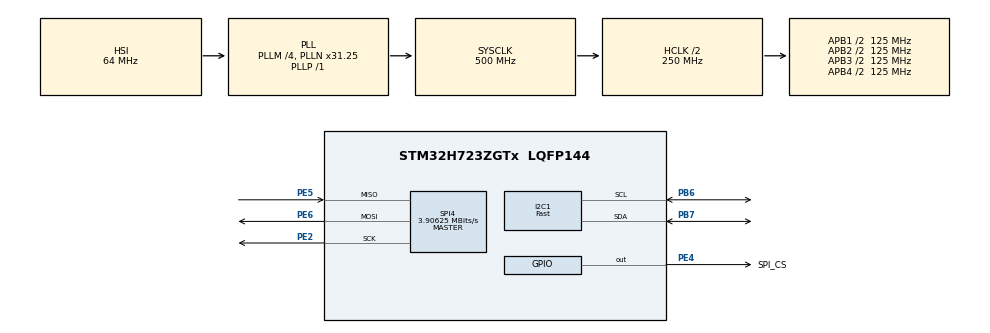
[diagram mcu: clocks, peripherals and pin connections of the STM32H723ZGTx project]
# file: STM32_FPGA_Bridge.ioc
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CORTEX_M7.AccessPermission_S-Cortex_Memory_Protection_Unit_Region1_Settings_S=MPU_REGION_FULL_ACCESS
CORTEX_M7.BaseAddress_S-Cortex_Memory_Protection_Unit_Region1_Settings_S=0x30000000
CORTEX_M7.CPU_DCache=Enabled
CORTEX_M7.CPU_ICache=Enabled
CORTEX_M7.Enable_S-Cortex_Memory_Protection_Unit_Region1_Settings_S=MPU_REGION_ENABLE
CORTEX_M7.IsShareable_S-Cortex_Memory_Protection_Unit_Region1_Settings_S=MPU_ACCESS_SHAREABLE
CORTEX_M7.Size_S-Cortex_Memory_Protection_Unit_Region1_Settings_S=MPU_REGION_SIZE_32KB
CORTEX_M7.TypeExtField_S-Cortex_Memory_Protection_Unit_Region1_Settings_S=MPU_TEX_LEVEL1
CORTEX_M7.default_mode_Activation=1
Dma.Request0=SPI4_TX
Dma.Request1=SPI4_RX
Dma.SPI4_RX.1.Direction=DMA_PERIPH_TO_MEMORY
Dma.SPI4_RX.1.EventEnable=DISABLE
Dma.SPI4_RX.1.FIFOMode=DMA_FIFOMODE_DISABLE
Dma.SPI4_RX.1.Instance=DMA1_Stream1
Dma.SPI4_RX.1.MemDataAlignment=DMA_MDATAALIGN_BYTE
Dma.SPI4_RX.1.MemInc=DMA_MINC_ENABLE
Dma.SPI4_RX.1.Mode=DMA_NORMAL
Dma.SPI4_RX.1.PeriphDataAlignment=DMA_PDATAALIGN_BYTE
Dma.SPI4_RX.1.PeriphInc=DMA_PINC_DISABLE
Dma.SPI4_RX.1.Polarity=HAL_DMAMUX_REQ_GEN_RISING
Dma.SPI4_RX.1.Priority=DMA_PRIORITY_VERY_HIGH
Dma.SPI4_RX.1.RequestNumber=1
Dma.SPI4_RX.1.SignalID=NONE
Dma.SPI4_RX.1.SyncEnable=DISABLE
Dma.SPI4_RX.1.SyncPolarity=HAL_DMAMUX_SYNC_NO_EVENT
Dma.SPI4_RX.1.SyncRequestNumber=1
Dma.SPI4_RX.1.SyncSignalID=NONE
Dma.SPI4_TX.0.Direction=DMA_MEMORY_TO_PERIPH
Dma.SPI4_TX.0.EventEnable=DISABLE
Dma.SPI4_TX.0.FIFOMode=DMA_FIFOMODE_DISABLE
Dma.SPI4_TX.0.Instance=DMA1_Stream0
Dma.SPI4_TX.0.MemDataAlignment=DMA_MDATAALIGN_BYTE
Dma.SPI4_TX.0.MemInc=DMA_MINC_ENABLE
Dma.SPI4_TX.0.Mode=DMA_NORMAL
Dma.SPI4_TX.0.PeriphDataAlignment=DMA_PDATAALIGN_BYTE
Dma.SPI4_TX.0.PeriphInc=DMA_PINC_DISABLE
Dma.SPI4_TX.0.Polarity=HAL_DMAMUX_REQ_GEN_RISING
Dma.SPI4_TX.0.Priority=DMA_PRIORITY_VERY_HIGH
Dma.SPI4_TX.0.RequestNumber=1
Dma.SPI4_TX.0.SignalID=NONE
Dma.SPI4_TX.0.SyncEnable=DISABLE
Dma.SPI4_TX.0.SyncPolarity=HAL_DMAMUX_SYNC_NO_EVENT
Dma.SPI4_TX.0.SyncRequestNumber=1
Dma.SPI4_TX.0.SyncSignalID=NONE
FREERTOS.Tasks01=defaultTask,24,128,StartDefaultTask,Default,NULL,Dynamic,NULL,NULL;debugTask,16,512,StartDebugTask,Default,NULL,Dynamic,NULL,NULL
FREERTOS.configTOTAL_HEAP_SIZE=32768
FREERTOS.configUSE_NEWLIB_REENTRANT=1
I2C1.Analog_Filter=I2C_ANALOGFILTER_ENABLE
I2C1.I2C_Fall_Time=10
I2C1.I2C_Rise_Time=100
I2C1.I2C_Speed_Mode=I2C_Fast
I2C1.Timing=0x10C03B50
Mcu.Family=STM32H7
Mcu.Name=STM32H723ZGTx
Mcu.Package=LQFP144
NVIC.DMA1_Stream0_IRQn=true\:5\:0\:false\:false\:true\:true\:false\:true\:true
NVIC.DMA1_Stream1_IRQn=true\:5\:0\:false\:false\:true\:true\:false\:true\:true
NVIC.PriorityGroup=NVIC_PRIORITYGROUP_4
NVIC.SPI4_IRQn=true\:5\:0\:false\:false\:true\:true\:false\:true\:true
NVIC.TIM6_DAC_IRQn=true\:15\:0\:false\:false\:true\:false\:false\:true\:true
NVIC.TimeBase=TIM6_DAC_IRQn
NVIC.TimeBaseIP=TIM6
PA13(JTMS/SWDIO).Mode=Trace_Asynchronous_SW
PA13(JTMS/SWDIO).Signal=DEBUG_JTMS-SWDIO
PA14(JTCK/SWCLK).Mode=Trace_Asynchronous_SW
PA14(JTCK/SWCLK).Signal=DEBUG_JTCK-SWCLK
PB3(JTDO/TRACESWO).Mode=Trace_Asynchronous_SW
PB3(JTDO/TRACESWO).Signal=DEBUG_JTDO-SWO
PB6.GPIO_Pu=GPIO_PULLUP
PB6.Mode=I2C
PB6.Signal=I2C1_SCL
PB7.GPIO_Pu=GPIO_PULLUP
PB7.Mode=I2C
PB7.Signal=I2C1_SDA
PE2.Mode=Full_Duplex_Master
PE2.Signal=SPI4_SCK
PE4.GPIO_Label=SPI_CS
PE4.Signal=GPIO_Output
PE5.Mode=Full_Duplex_Master
PE5.Signal=SPI4_MISO
PE6.Mode=Full_Duplex_Master
PE6.Signal=SPI4_MOSI
PH0-OSC_IN.Mode=HSE-External-Clock-Source
PH0-OSC_IN.Signal=RCC_OSC_IN
ProjectManager.HeapSize=0x200
ProjectManager.StackSize=0x400
ProjectManager.TargetToolchain=STM32CubeIDE
RCC.ADCFreq_Value=129000000
RCC.APB1Freq_Value=125000000
RCC.APB2Freq_Value=125000000
RCC.APB3Freq_Value=125000000
RCC.APB4Freq_Value=125000000
RCC.CortexFreq_Value=500000000
RCC.D1PPRE=RCC_APB3_DIV2
RCC.D2PPRE1=RCC_APB1_DIV2
RCC.D2PPRE2=RCC_APB2_DIV2
RCC.D3PPRE=RCC_APB4_DIV2
RCC.DIVM1=4
RCC.DIVN1=31
RCC.DIVP1=1
RCC.HCLKFreq_Value=250000000
RCC.HPRE=RCC_HCLK_DIV2
RCC.PLL2FRACN=0
RCC.PLL3FRACN=0
RCC.PLLFRACN=2048
RCC.SYSCLKFreq_VALUE=500000000
RCC.SYSCLKSource=RCC_SYSCLKSOURCE_PLLCLK
RCC.USBFreq_Value=250000000
SPI4.BaudRatePrescaler=SPI_BAUDRATEPRESCALER_32
SPI4.CLKPhase=SPI_PHASE_2EDGE
SPI4.CalculateBaudRate=3.90625 MBits/s
SPI4.DataSize=SPI_DATASIZE_8BIT
SPI4.Direction=SPI_DIRECTION_2LINES
SPI4.Mode=SPI_MODE_MASTER
SPI4.VirtualType=VM_MASTER
VP_FREERTOS_VS_CMSIS_V2.Mode=CMSIS_V2
VP_MEMORYMAP_VS_MEMORYMAP.Mode=CurAppReg
VP_SYS_VS_tim6.Mode=TIM6
board=custom

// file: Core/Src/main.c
/* USER CODE BEGIN Header */
/**
  ******************************************************************************
  * @file           : main.c
  * @brief          : Main program body
  ******************************************************************************
  * @attention
  *
  * Copyright (c) 2026 STMicroelectronics.
  * All rights reserved.
  *
  * This software is licensed under terms that can be found in the LICENSE file
  * in the root directory of this software component.
  * If no LICENSE file comes with this software, it is provided AS-IS.
  *
  ******************************************************************************
  */
/* USER CODE END Header */
#include "main.h"
#include "cmsis_os.h"

/* USER CODE BEGIN Includes */
#include <stdio.h>
#include <string.h>
#include "app_config.h"

#include "fpga_ctrl_task.h"
#include "fpga_spi_task.h"
#include "link_char_task.h"

/* USER CODE END Includes */

I2C_HandleTypeDef hi2c1;

SPI_HandleTypeDef hspi4;
DMA_HandleTypeDef hdma_spi4_tx;
DMA_HandleTypeDef hdma_spi4_rx;

/* Definitions for defaultTask */
osThreadId_t defaultTaskHandle;
const osThreadAttr_t defaultTask_attributes = {
  .name = "defaultTask",
  .stack_size = 128 * 4,
  .priority = (osPriority_t) osPriorityNormal,
};
/* Definitions for debugTask */
osThreadId_t debugTaskHandle;
const osThreadAttr_t debugTask_attributes = {
  .name = "debugTask",
  .stack_size = 512 * 4,
  .priority = (osPriority_t) osPriorityBelowNormal,
};
/* USER CODE BEGIN PV */
#if ENABLE_I2C_SUBSYSTEM
osThreadId_t fpgaCtrlTaskHandle;
const osThreadAttr_t fpgaCtrlTask_attributes = {
		.name = "fpgaCtrlTask",
		.stack_size = STACK_SIZE_I2C,
		.priority = (osPriority_t) osPriorityNormal
};
#endif

#if ENABLE_SPI_SUBSYSTEM
osThreadId_t fpgaSpiTaskHandle;
const osThreadAttr_t fpgaSpiTask_attributes = {
		.name = "fpgaSpiTask",
		.stack_size = STACK_SIZE_SPI,
		.priority = (osPriority_t) osPriorityNormal
};
#endif

#if ENABLE_LINK_CHAR
  osThreadId_t linkCharTaskHandle;
  const osThreadAttr_t linkCharTask_attributes = {
  		.name = "linkCharTask",
  		.stack_size = STACK_SIZE_LINK_CHAR,
  		.priority = (osPriority_t) osPriorityHigh
  };
#endif

volatile uint8_t spi_dma_complete = 0;
/* USER CODE END PV */

void SystemClock_Config(void);
static void MPU_Config(void);
static void MX_GPIO_Init(void);
static void MX_DMA_Init(void);
static void MX_SPI4_Init(void);
static void MX_I2C1_Init(void);
void StartDefaultTask(void *argument);
void StartDebugTask(void *argument);

/* USER CODE BEGIN PFP */
static void print_system_info(void);
static const char* get_test_mode_string(int mode);
/* USER CODE END PFP */

/* USER CODE BEGIN 0 */
// redirect printf to the IITM SWV Port 0
int _write(int file, char *ptr, int len) {
	int DataIdx;
	for (DataIdx = 0; DataIdx < len; DataIdx++) {
		ITM_SendChar(*ptr++);
	}
	return len;
}

void HAL_SPI_ErrorCallback(SPI_HandleTypeDef *hspi) {
	if (hspi->Instance == SPI4) {
		spi_dma_complete = 1;  /* Signal completion even on error */
    }
}
/* USER CODE END 0 */

int main(void)
{

  /* MPU Configuration--------------------------------------------------------*/
  MPU_Config();

  /* Enable the CPU Cache */

  /* Enable I-Cache---------------------------------------------------------*/
  SCB_EnableICache();

  /* Enable D-Cache---------------------------------------------------------*/
  SCB_EnableDCache();

  /* MCU Configuration--------------------------------------------------------*/

  /* Reset of all peripherals, Initializes the Flash interface and the Systick. */
  HAL_Init();

  /* Configure the system clock */
  SystemClock_Config();

  /* Initialize all configured peripherals */
  MX_GPIO_Init();
  MX_DMA_Init();
  MX_SPI4_Init();
  MX_I2C1_Init();
  /* USER CODE BEGIN 2 */
  print_system_info();
  /* USER CODE END 2 */

  /* Init scheduler */
  osKernelInitialize();

  /* Create the thread(s) */
  /* creation of defaultTask */
  defaultTaskHandle = osThreadNew(StartDefaultTask, NULL, &defaultTask_attributes);

  /* creation of debugTask */
  debugTaskHandle = osThreadNew(StartDebugTask, NULL, &debugTask_attributes);

  /* USER CODE BEGIN RTOS_THREADS */
  /* add threads, ... */
  /* conditionally create tasks based on test mode */
#if ENABLE_LINK_CHAR
  /* Link Characterization Mode - only run char task */
  linkCharTaskHandle = osThreadNew(StartLinkCharTask, NULL, &linkCharTask_attributes);
  DBG_PRINT("[MAIN] Created Link Characterization Task\n");
  DBG_PRINT("[MAIN] Normal I2C/SPI tasks DISABLED during characterization\n");
#else
  /* Normal Mode - create I2C and SPI tasks */
  #if ENABLE_I2C_SUBSYSTEM
  fpgaCtrlTaskHandle = osThreadNew(StartFpgaCtrlTask, NULL, &fpgaCtrlTask_attributes);
  DBG_PRINT("[MAIN] Created FPGA Control (I2C) Task\n");
  #else
  DBG_PRINT("[MAIN] I2C Subsystem DISABLED\n");
  #endif

  #if ENABLE_SPI_SUBSYSTEM
  fpgaSpiTaskHandle = osThreadNew(StartFpgaSpiTask, NULL, &fpgaSpiTask_attributes);
  DBG_PRINT("[MAIN] Created FPGA SPI (Data Plane) Task\n");
  #else
  DBG_PRINT("[MAIN] SPI Subsystem DISABLED\n");
  #endif
#endif
  /* USER CODE END RTOS_THREADS */

  /* Start scheduler */
  osKernelStart();

  /* We should never get here as control is now taken by the scheduler */

  /* Infinite loop */
  while (1)
  {

  }
}

void SystemClock_Config(void)
{
  RCC_OscInitTypeDef RCC_OscInitStruct = {0};
  RCC_ClkInitTypeDef RCC_ClkInitStruct = {0};

  /** Supply configuration update enable
  */
  HAL_PWREx_ConfigSupply(PWR_LDO_SUPPLY);

  /** Configure the main internal regulator output voltage
  */
  __HAL_PWR_VOLTAGESCALING_CONFIG(PWR_REGULATOR_VOLTAGE_SCALE0);

  while(!__HAL_PWR_GET_FLAG(PWR_FLAG_VOSRDY)) {}

  /** Initializes the RCC Oscillators according to the specified parameters
  * in the RCC_OscInitTypeDef structure.
  */
  RCC_OscInitStruct.OscillatorType = RCC_OSCILLATORTYPE_HSI;
  RCC_OscInitStruct.HSIState = RCC_HSI_DIV1;
  RCC_OscInitStruct.HSICalibrationValue = 64;
  RCC_OscInitStruct.PLL.PLLState = RCC_PLL_ON;
  RCC_OscInitStruct.PLL.PLLSource = RCC_PLLSOURCE_HSI;
  RCC_OscInitStruct.PLL.PLLM = 4;
  RCC_OscInitStruct.PLL.PLLN = 31;
  RCC_OscInitStruct.PLL.PLLP = 1;
  RCC_OscInitStruct.PLL.PLLQ = 2;
  RCC_OscInitStruct.PLL.PLLR = 2;
  RCC_OscInitStruct.PLL.PLLRGE = RCC_PLL1VCIRANGE_3;
  RCC_OscInitStruct.PLL.PLLVCOSEL = RCC_PLL1VCOWIDE;
  RCC_OscInitStruct.PLL.PLLFRACN = 2048;
  if (HAL_RCC_OscConfig(&RCC_OscInitStruct) != HAL_OK)
  {
    Error_Handler();
  }

  /** Initializes the CPU, AHB and APB buses clocks
  */
  RCC_ClkInitStruct.ClockType = RCC_CLOCKTYPE_HCLK|RCC_CLOCKTYPE_SYSCLK
                              |RCC_CLOCKTYPE_PCLK1|RCC_CLOCKTYPE_PCLK2
                              |RCC_CLOCKTYPE_D3PCLK1|RCC_CLOCKTYPE_D1PCLK1;
  RCC_ClkInitStruct.SYSCLKSource = RCC_SYSCLKSOURCE_PLLCLK;
  RCC_ClkInitStruct.SYSCLKDivider = RCC_SYSCLK_DIV1;
  RCC_ClkInitStruct.AHBCLKDivider = RCC_HCLK_DIV2;
  RCC_ClkInitStruct.APB3CLKDivider = RCC_APB3_DIV2;
  RCC_ClkInitStruct.APB1CLKDivider = RCC_APB1_DIV2;
  RCC_ClkInitStruct.APB2CLKDivider = RCC_APB2_DIV2;
  RCC_ClkInitStruct.APB4CLKDivider = RCC_APB4_DIV2;

  if (HAL_RCC_ClockConfig(&RCC_ClkInitStruct, FLASH_LATENCY_3) != HAL_OK)
  {
    Error_Handler();
  }
}

static void MX_I2C1_Init(void)
{

  hi2c1.Instance = I2C1;
  hi2c1.Init.Timing = 0x10C03B50;
  hi2c1.Init.OwnAddress1 = 0;
  hi2c1.Init.AddressingMode = I2C_ADDRESSINGMODE_7BIT;
  hi2c1.Init.DualAddressMode = I2C_DUALADDRESS_DISABLE;
  hi2c1.Init.OwnAddress2 = 0;
  hi2c1.Init.OwnAddress2Masks = I2C_OA2_NOMASK;
  hi2c1.Init.GeneralCallMode = I2C_GENERALCALL_DISABLE;
  hi2c1.Init.NoStretchMode = I2C_NOSTRETCH_DISABLE;
  if (HAL_I2C_Init(&hi2c1) != HAL_OK)
  {
    Error_Handler();
  }

  /** Configure Analogue filter
  */
  if (HAL_I2CEx_ConfigAnalogFilter(&hi2c1, I2C_ANALOGFILTER_ENABLE) != HAL_OK)
  {
    Error_Handler();
  }

  /** Configure Digital filter
  */
  if (HAL_I2CEx_ConfigDigitalFilter(&hi2c1, 0) != HAL_OK)
  {
    Error_Handler();
  }

}

static void MX_SPI4_Init(void)
{

  /* SPI4 parameter configuration*/
  hspi4.Instance = SPI4;
  hspi4.Init.Mode = SPI_MODE_MASTER;
  hspi4.Init.Direction = SPI_DIRECTION_2LINES;
  hspi4.Init.DataSize = SPI_DATASIZE_8BIT;
  hspi4.Init.CLKPolarity = SPI_POLARITY_LOW;
  hspi4.Init.CLKPhase = SPI_PHASE_2EDGE;
  hspi4.Init.NSS = SPI_NSS_SOFT;
  hspi4.Init.BaudRatePrescaler = SPI_BAUDRATEPRESCALER_8;
  hspi4.Init.FirstBit = SPI_FIRSTBIT_MSB;
  hspi4.Init.TIMode = SPI_TIMODE_DISABLE;
  hspi4.Init.CRCCalculation = SPI_CRCCALCULATION_DISABLE;
  hspi4.Init.CRCPolynomial = 0x0;
  hspi4.Init.NSSPMode = SPI_NSS_PULSE_ENABLE;
  hspi4.Init.NSSPolarity = SPI_NSS_POLARITY_LOW;
  hspi4.Init.FifoThreshold = SPI_FIFO_THRESHOLD_01DATA;
  hspi4.Init.TxCRCInitializationPattern = SPI_CRC_INITIALIZATION_ALL_ZERO_PATTERN;
  hspi4.Init.RxCRCInitializationPattern = SPI_CRC_INITIALIZATION_ALL_ZERO_PATTERN;
  hspi4.Init.MasterSSIdleness = SPI_MASTER_SS_IDLENESS_00CYCLE;
  hspi4.Init.MasterInterDataIdleness = SPI_MASTER_INTERDATA_IDLENESS_00CYCLE;
  hspi4.Init.MasterReceiverAutoSusp = SPI_MASTER_RX_AUTOSUSP_DISABLE;
  hspi4.Init.MasterKeepIOState = SPI_MASTER_KEEP_IO_STATE_DISABLE;
  hspi4.Init.IOSwap = SPI_IO_SWAP_DISABLE;
  if (HAL_SPI_Init(&hspi4) != HAL_OK)
  {
    Error_Handler();
  }

}

static void MX_DMA_Init(void)
{

  /* DMA controller clock enable */
  __HAL_RCC_DMA1_CLK_ENABLE();

  /* DMA interrupt init */
  /* DMA1_Stream0_IRQn interrupt configuration */
  HAL_NVIC_SetPriority(DMA1_Stream0_IRQn, 5, 0);
  HAL_NVIC_EnableIRQ(DMA1_Stream0_IRQn);
  /* DMA1_Stream1_IRQn interrupt configuration */
  HAL_NVIC_SetPriority(DMA1_Stream1_IRQn, 5, 0);
  HAL_NVIC_EnableIRQ(DMA1_Stream1_IRQn);

}

static void MX_GPIO_Init(void)
{
  GPIO_InitTypeDef GPIO_InitStruct = {0};

  /* GPIO Ports Clock Enable */
  __HAL_RCC_GPIOE_CLK_ENABLE();
  __HAL_RCC_GPIOH_CLK_ENABLE();
  __HAL_RCC_GPIOA_CLK_ENABLE();
  __HAL_RCC_GPIOB_CLK_ENABLE();

  /*Configure GPIO pin Output Level */
  HAL_GPIO_WritePin(SPI_CS_GPIO_Port, SPI_CS_Pin, GPIO_PIN_RESET);

  /*Configure GPIO pin : SPI_CS_Pin */
  GPIO_InitStruct.Pin = SPI_CS_Pin;
  GPIO_InitStruct.Mode = GPIO_MODE_OUTPUT_PP;
  GPIO_InitStruct.Pull = GPIO_NOPULL;
  GPIO_InitStruct.Speed = GPIO_SPEED_FREQ_VERY_HIGH;
  HAL_GPIO_Init(SPI_CS_GPIO_Port, &GPIO_InitStruct);

}

/* USER CODE BEGIN 4 */
static void print_system_info(void) {
    printf("\n");
    printf("============================================\n");
    printf("  STM32-FPGA Adaptive Link System\n");
    printf("============================================\n");
    printf("  MCU:        STM32H723ZG\n");
    printf("  FPGA:       Artix-7 (Basys 3)\n");
    printf("  Test Mode:  %s\n", get_test_mode_string(APP_TEST_MODE));
    printf("--------------------------------------------\n");

    // Add clock info
    printf("  SYSCLK:     %lu MHz\n", HAL_RCC_GetSysClockFreq() / 1000000);
    printf("  HCLK:       %lu MHz\n", HAL_RCC_GetHCLKFreq() / 1000000);
    printf("  APB2:       %lu MHz\n", HAL_RCC_GetPCLK2Freq() / 1000000);
    printf("  SPI4 Clk:   %lu MHz\n", HAL_RCCEx_GetPeriphCLKFreq(RCC_PERIPHCLK_SPI45) / 1000000);
    printf("--------------------------------------------\n");

    printf("  I2C:        %s\n", ENABLE_I2C_SUBSYSTEM ? "ENABLED" : "DISABLED");
    printf("  SPI:        %s\n", ENABLE_SPI_SUBSYSTEM ? "ENABLED" : "DISABLED");
    printf("============================================\n\n");
}

static const char* get_test_mode_string(int mode) {
	switch (mode) {
	case TEST_MODE_NORMAL: 			return "NORMAL";
	case TEST_MODE_I2C_ONLY:		return "I2C_ONLY";
	case TEST_MODE_SPI_ONLY:		return "SPI_ONLY";
	case TEST_MODE_I2C_SPI_STRESS:	return "I2C_SPI_STRESS";
	case TEST_MODE_LOOPBACK:		return "LOOPBACK";
	case TEST_MODE_LINK_CHAR:		return "LINK_CHAR (Full)";
	case TEST_MODE_LINK_CHAR_QUICK:	return "LINK_CHAR (Quick)";
	default:						return "UNKNOWN";
	}
}
/* USER CODE END 4 */

void StartDefaultTask(void *argument) {
	/* USER CODE BEGIN 5 */
	(void) argument;
	uint32_t seconds_alive = 0;

	for (;;) {
		printf("[SYSTEM] Alive: %lu seconds", seconds_alive++);

	#if ENABLE_I2C_SUBSYSTEM
		printf(" | I2C: %s", fpga_ctrl_is_ready() ? "OK" : "INIT");
	#endif

	#if ENABLE_SPI_SUBSYSTEM
		printf(" | SPI: %s", fpga_spi_is_ready() ? "OK" : "INIT");
    #endif

		printf("\n");

		osDelay(1000);
	}
	/* USER CODE END 5 */
}

void StartDebugTask(void *argument) {
	/* USER CODE BEGIN StartDebugTask */
	(void) argument;

	osDelay(2000);

	for (;;) {
	#if ENABLE_I2C_SUBSYSTEM
		if (fpga_ctrl_is_ready()) {
			fpga_ctrl_dump_registers();
		}
	#endif

	#if ENABLE_SPI_SUBSYSTEM
		if (fpga_spi_is_ready()) {
			fpga_spi_print_stats();
		}
	#endif

		osDelay(30000);
	}
	/* USER CODE END StartDebugTask */
}

 /* MPU Configuration */

void MPU_Config(void)
{
  MPU_Region_InitTypeDef MPU_InitStruct = {0};

  /* Disables the MPU */
  HAL_MPU_Disable();

  /** Initializes and configures the Region and the memory to be protected
  */
  MPU_InitStruct.Enable = MPU_REGION_ENABLE;
  MPU_InitStruct.Number = MPU_REGION_NUMBER0;
  MPU_InitStruct.BaseAddress = 0x0;
  MPU_InitStruct.Size = MPU_REGION_SIZE_4GB;
  MPU_InitStruct.SubRegionDisable = 0x87;
  MPU_InitStruct.TypeExtField = MPU_TEX_LEVEL0;
  MPU_InitStruct.AccessPermission = MPU_REGION_NO_ACCESS;
  MPU_InitStruct.DisableExec = MPU_INSTRUCTION_ACCESS_DISABLE;
  MPU_InitStruct.IsShareable = MPU_ACCESS_SHAREABLE;
  MPU_InitStruct.IsCacheable = MPU_ACCESS_NOT_CACHEABLE;
  MPU_InitStruct.IsBufferable = MPU_ACCESS_NOT_BUFFERABLE;

  HAL_MPU_ConfigRegion(&MPU_InitStruct);

  /** Initializes and configures the Region and the memory to be protected
  */
  MPU_InitStruct.Number = MPU_REGION_NUMBER1;
  MPU_InitStruct.BaseAddress = 0x30000000;
  MPU_InitStruct.Size = MPU_REGION_SIZE_32KB;
  MPU_InitStruct.SubRegionDisable = 0x0;
  MPU_InitStruct.TypeExtField = MPU_TEX_LEVEL1;
  MPU_InitStruct.AccessPermission = MPU_REGION_FULL_ACCESS;
  MPU_InitStruct.DisableExec = MPU_INSTRUCTION_ACCESS_ENABLE;

  HAL_MPU_ConfigRegion(&MPU_InitStruct);
  /* Enables the MPU */
  HAL_MPU_Enable(MPU_PRIVILEGED_DEFAULT);

}

void HAL_TIM_PeriodElapsedCallback(TIM_HandleTypeDef *htim)
{
  if (htim->Instance == TIM6)
  {
    HAL_IncTick();
  }
}

void Error_Handler(void)
{
  __disable_irq();
  while (1)
  {
  }
}
